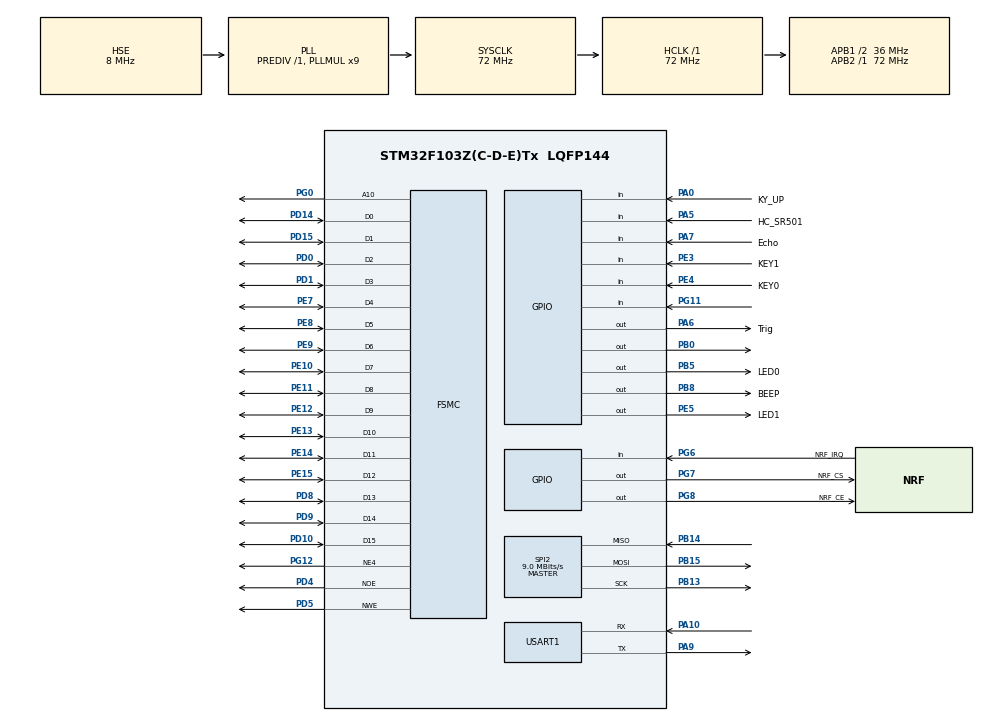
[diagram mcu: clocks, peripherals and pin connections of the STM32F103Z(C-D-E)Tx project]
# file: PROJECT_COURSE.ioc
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Mcu.Family=STM32F1
FSMC.AddressSetupTime1=1
SH.FSMC_D1_DA1.0=FSMC_D1,16b-d1
PG6.Signal=GPIO_Input
SPI2.VirtualType=VM_MASTER
PG8.Signal=GPIO_Output
PG6.GPIO_Label=NRF_IRQ
SH.FSMC_NWE.0=FSMC_NWE,Lcd1
PG0.Signal=FSMC_A10
SH.FSMC_D0_DA0.0=FSMC_D0,16b-d1
PA6.GPIO_Label=Trig
PB13.Signal=SPI2_SCK
PB15.Signal=SPI2_MOSI
PG11.Signal=GPIO_Input
RCC.SYSCLKSource=RCC_SYSCLKSOURCE_PLLCLK
ProjectManager.StackSize=0x400
VP_TIM7_VS_ClockSourceINT.Mode=Enable_Timer
PE5.GPIO_PuPd=GPIO_PULLUP
PG11.GPIO_PuPd=GPIO_PULLDOWN
RCC.HCLKFreq_Value=72000000
PD4.Signal=FSMC_NOE
RCC.APB2TimFreq_Value=72000000
PB5.PinState=GPIO_PIN_SET
PD0.Signal=FSMC_D2_DA2
PD8.Signal=FSMC_D13_DA13
PE5.Signal=GPIO_Output
OSC_OUT.Mode=HSE-External-Oscillator
SH.FSMC_A10.0=FSMC_A10,A10_1
OSC_OUT.Signal=RCC_OSC_OUT
RCC.AHBFreq_Value=72000000
SPI2.BaudRatePrescaler=SPI_BAUDRATEPRESCALER_4
RCC.PLLMUL=RCC_PLL_MUL9
PA6.GPIO_PuPd=GPIO_PULLDOWN
PG6.GPIO_PuPd=GPIO_PULLDOWN
PE13.Signal=FSMC_D10_DA10
SH.FSMC_D14_DA14.0=FSMC_D14,16b-d1
SH.FSMC_D10_DA10.0=FSMC_D10,16b-d1
PE9.Signal=FSMC_D6_DA6
PA14.Mode=Serial_Wire
PB14.Mode=Full_Duplex_Master
PA5.GPIO_PuPd=GPIO_PULLDOWN
SH.FSMC_D6_DA6.0=FSMC_D6,16b-d1
PE4.GPIO_Label=KEY0
PE5.PinState=GPIO_PIN_SET
SPI2.CalculateBaudRate=9.0 MBits/s
PG7.GPIO_PuPd=GPIO_PULLDOWN
PE10.Signal=FSMC_D7_DA7
PE4.Signal=GPIO_Input
SH.FSMC_D5_DA5.0=FSMC_D5,16b-d1
SH.FSMC_D4_DA4.0=FSMC_D4,16b-d1
Mcu.Package=LQFP144
TIM2.Prescaler=72-1
PA6.Signal=GPIO_Output
SPI2.Mode=SPI_MODE_MASTER
SH.FSMC_D13_DA13.0=FSMC_D13,16b-d1
PA10.Signal=USART1_RX
PB5.GPIO_Speed=GPIO_SPEED_FREQ_HIGH
PG8.GPIO_Speed=GPIO_SPEED_FREQ_HIGH
PB5.GPIO_Label=LED0
SH.FSMC_D3_DA3.0=FSMC_D3,16b-d1
RCC.APB1TimFreq_Value=72000000
SH.FSMC_D2_DA2.0=FSMC_D2,16b-d1
SPI2.Direction=SPI_DIRECTION_2LINES
PB13.Mode=Full_Duplex_Master
PA6.GPIO_Speed=GPIO_SPEED_FREQ_HIGH
PE7.Signal=FSMC_D4_DA4
PD15.Signal=FSMC_D1_DA1
PG12.Signal=FSMC_NE4
RCC.PLLSourceVirtual=RCC_PLLSOURCE_HSE
FSMC.ExtendedAddressSetupTime1=0
SH.FSMC_D12_DA12.0=FSMC_D12,16b-d1
PG7.Signal=GPIO_Output
PA10.Mode=Asynchronous
FSMC.ExtendedMode1=FSMC_EXTENDED_MODE_ENABLE
PB8.GPIO_PuPd=GPIO_PULLDOWN
PD1.Signal=FSMC_D3_DA3
SH.FSMC_D9_DA9.0=FSMC_D9,16b-d1
PA6.PinState=GPIO_PIN_RESET
PD9.Signal=FSMC_D14_DA14
PD5.Signal=FSMC_NWE
RCC.APB1CLKDivider=RCC_HCLK_DIV2
PA0-WKUP.GPIO_Label=KY_UP
PA0-WKUP.Signal=GPIO_Input
SH.FSMC_D8_DA8.0=FSMC_D8,16b-d1
PG8.GPIO_PuPd=GPIO_PULLDOWN
PB0.GPIO_Speed=GPIO_SPEED_FREQ_HIGH
PD10.Signal=FSMC_D15_DA15
PG8.GPIO_Label=NRF_CE
PA13.Signal=SYS_JTMS-SWDIO
PB8.GPIO_Label=BEEP
PA9.Mode=Asynchronous
ProjectManager.TargetToolchain=STM32CubeIDE
FSMC.DataSetupTime1=4
PA9.Signal=USART1_TX
OSC_IN.Signal=RCC_OSC_IN
RCC.USBFreq_Value=72000000
PE11.Signal=FSMC_D8_DA8
PA7.GPIO_PuPd=GPIO_PULLDOWN
PB14.Signal=SPI2_MISO
PA5.Signal=GPIO_Input
SH.FSMC_D7_DA7.0=FSMC_D7,16b-d1
FSMC.ExtendedDataSetupTime1=3
board=custom
PG12.Mode=NorPsramChipSelect4_1
PB15.Mode=Full_Duplex_Master
PG7.GPIO_Speed=GPIO_SPEED_FREQ_HIGH
RCC.APB2Freq_Value=72000000
PE14.Signal=FSMC_D11_DA11
PE15.Signal=FSMC_D12_DA12
VP_TIM2_VS_ClockSourceINT.Mode=Internal
PE8.Signal=FSMC_D5_DA5
PG7.GPIO_Label=NRF_CS
PE3.GPIO_PuPd=GPIO_PULLUP
PA13.Mode=Serial_Wire
Mcu.Name=STM32F103Z(C-D-E)Tx
PE12.Signal=FSMC_D9_DA9
PE4.GPIO_PuPd=GPIO_PULLUP
PD14.Signal=FSMC_D0_DA0
RCC.SYSCLKFreq_VALUE=72000000
PB5.Signal=GPIO_Output
PA7.GPIO_Label=Echo
PA5.GPIO_Label=HC_SR501
OSC_IN.Mode=HSE-External-Oscillator
PB5.GPIO_PuPd=GPIO_PULLUP
PE5.GPIO_Label=LED1
USART1.VirtualMode=VM_ASYNC
SH.FSMC_D15_DA15.0=FSMC_D15,16b-d1
PA14.Signal=SYS_JTCK-SWCLK
ProjectManager.HeapSize=0x200
SH.FSMC_D11_DA11.0=FSMC_D11,16b-d1
SH.FSMC_NOE.0=FSMC_NOE,Lcd1
NVIC.PriorityGroup=NVIC_PRIORITYGROUP_4
PE5.GPIO_Speed=GPIO_SPEED_FREQ_HIGH
PE3.Signal=GPIO_Input
PB8.Signal=GPIO_Output
PE3.GPIO_Label=KEY1
PA0-WKUP.GPIO_PuPd=GPIO_PULLDOWN
RCC.APB1Freq_Value=36000000
PB8.GPIO_Speed=GPIO_SPEED_FREQ_HIGH
PB0.Signal=GPIO_Output
PB0.GPIO_PuPd=GPIO_PULLUP
PA7.Signal=GPIO_Input

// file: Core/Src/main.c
/* USER CODE BEGIN Header */
/**
 ******************************************************************************
 * @file           : main.c
 * @brief          : Main program body
 ******************************************************************************
 * @attention
 *
 * <h2><center>&copy; Copyright (c) 2021 STMicroelectronics.
 * All rights reserved.</center></h2>
 *
 * This software component is licensed by ST under BSD 3-Clause license,
 * the "License"; You may not use this file except in compliance with the
 * License. You may obtain a copy of the License at:
 *                        opensource.org/licenses/BSD-3-Clause
 *
 ******************************************************************************
 */
/* USER CODE END Header */
#include "main.h"
#include "spi.h"
#include "tim.h"
#include "usart.h"
#include "gpio.h"
#include "fsmc.h"

/* USER CODE BEGIN Includes */
#include "stdlib.h"
#include "lcd.h"
#include "hc_sr04.h"
#include "ds18b20.h"
#include "nrf24l01.h"
#include "key.h"
#include "beep.h"
/* USER CODE END Includes */

void SystemClock_Config(void);

/* USER CODE BEGIN 0 */
hc_sr04_device_t hc_sr04;
uint8_t manCome, LastCome = 2;
float temperature;
uint8_t Rx_Buf[32];
uint8_t Tx_Buf[32];
uint8_t mode, key;
uint32_t i = 0, time = 0;

void LCD_Show() {
	uint8_t ShowBuffer[64]; //LCD输出缓冲区

	//LCD输出一个logo
	POINT_COLOR = BLACK; //将画笔颜色设置为黑色
	LCD_ShowString(25, 30, 240, 16, 16, (uint8_t*) ".------..------..------.");
	LCD_ShowString(25, 45, 240, 16, 16, (uint8_t*) "|W.--. ||X.--. ||Y.--. |");
	LCD_ShowString(25, 60, 240, 16, 16, (uint8_t*) "| :/\\: || :/\\: || (\\/) |");
	LCD_ShowString(25, 75, 240, 16, 16, (uint8_t*) "| :\\/: || (__) || :\\/: |");
	LCD_ShowString(25, 90, 240, 16, 16, (uint8_t*) "| '--'W|| '--'X|| '--'Y|");
	LCD_ShowString(25, 105, 240, 16, 16,(uint8_t*) "`------'`------'`------'");

	//LCD输出测距结果
	POINT_COLOR = BLACK; //将画笔颜色设置为黑色
	sprintf((char*) ShowBuffer, "DIST:%7.2f", hc_sr04.distance);
	LCD_ShowString(30, 140, 240, 24, 24, ShowBuffer);

	//LCD输出测温结果
	sprintf((char*) ShowBuffer, "TEMP:%7.2f", temperature);
	LCD_ShowString(30, 170, 240, 24, 24, ShowBuffer);

	//根据按键选择的工作模式的不同，LCD上显示不同的提示信息
	if (mode == KEY0_PRES) {
		LCD_ShowString(25, 280, 200, 24, 24, (uint8_t*) "NRF24L01 RX_MODE");
	} else if (mode == KEY1_PRES) {
		LCD_ShowString(25, 280, 200, 24, 24, (uint8_t*) "NRF24L01 TX_MODE");
	}

	//LCD输出红外结果
	//为避免不同字符混杂的情况，当LCD显示的字符不同时，先执行一次清屏操作
	if (LastCome != manCome) {
		LCD_Fill(20, 200, 220, 280, WHITE);
	}
	if (manCome == 1) {
		POINT_COLOR = RED;
		LCD_ShowString(30, 210, 240, 24, 24, (uint8_t*) "SOMEBODY");
		LCD_ShowString(30, 240, 240, 24, 24, (uint8_t*) "APPROCHING!!!!");
	} else {
		POINT_COLOR = BLACK;
		LCD_ShowString(40, 220, 240, 24, 24, (uint8_t*) "NOBODY......");
	}
	LastCome = manCome;
}

//选择nRF24L01的工作模式
void nRF24L01_Start(void) {
	//首先判断是否正常连接上了nRF24L01
	//若未正常连接，LCD显示错误提醒
	while (NRF24L01_Check()) {
		POINT_COLOR = RED;
		LCD_ShowString(30, 70, 200, 24, 24, (uint8_t*) "NRF24L01 Error...");
		HAL_Delay(700);
		LCD_Fill(30, 70, 230, 94, WHITE);
		HAL_Delay(700);
	}
	//若正常连接nRF24L01则显示相关提示
	LCD_Fill(30, 70, 230, 94, WHITE);
	POINT_COLOR = BLACK;
	LCD_ShowString(30, 70, 200, 24, 24, (uint8_t*) "NRF24L01 OK");
	HAL_Delay(300);
	LCD_ShowString(30, 70, 200, 24, 24, (uint8_t*) "NRF24L01 OK.");
	HAL_Delay(500);
	LCD_ShowString(30, 70, 200, 24, 24, (uint8_t*) "NRF24L01 OK..");
	HAL_Delay(500);
	LCD_ShowString(30, 70, 200, 24, 24, (uint8_t*) "NRF24L01 OK...");
	HAL_Delay(500);

	//使用按键选择单片机的工作模式
	//Key0----接收模式
	//Key1----发送模式
	while (1) {
		i++;
		mode = KeyScan(0);
		POINT_COLOR = RED;
		if (i == 80000) {
			LCD_ShowString(40, 130, 200, 24, 24, (uint8_t*) "RECEIVE(KEY0)");
			LCD_ShowString(100, 170, 200, 24, 24, (uint8_t*) "OR");
			LCD_ShowString(60, 210, 200, 24, 24, (uint8_t*) "SENT(KEY1)");
		} else if (i == 160000) {
			LCD_Fill(30, 130, 230, 234, WHITE);
			i = 0;
		}

		POINT_COLOR = BLACK;
		switch (mode) {
		case KEY0_PRES:
			NRF24L01_RX_Mode();
			break;
		case KEY1_PRES:
			NRF24L01_TX_Mode();
			break;
		default:
			continue;
		}
		break;
	}
	//结束后全屏清屏，方便后续处理
	LCD_Fill(0, 0, 320, 240, WHITE);
}

/* USER CODE END 0 */

int main(void) {

	/* MCU Configuration--------------------------------------------------------*/

	/* Reset of all peripherals, Initializes the Flash interface and the Systick. */
	HAL_Init();

	/* Configure the system clock */
	SystemClock_Config();

	/* Initialize all configured peripherals */
	MX_GPIO_Init();
	MX_FSMC_Init();
	MX_USART1_UART_Init();
	MX_TIM2_Init();
	MX_SPI2_Init();
	MX_TIM7_Init();
	/* USER CODE BEGIN 2 */
	HC_SR04_Init(&hc_sr04); //HC_SR04初始化
	DS18B20_Init(); //DS18B20初始化
	NRF24L01_Init(); //nRF24L01初始化

	LCD_Init(); //LCD初始化
	LCD_Clear(WHITE); //清屏为白色
	POINT_COLOR = BLACK; //将画笔颜色设置为黑色

	nRF24L01_Start(); //nRF24L01
	/* USER CODE END 2 */

	/* Infinite loop */
	/* USER CODE BEGIN WHILE */
	//判断当前应该进入发送模式还是接收模式
	if (mode == KEY1_PRES) {
		while (1) {
			/*
			 * 发送模式中发送的字符串由两部分组成
			 * 第一个字符用于接收机判断当前接收的数据是哪个类型的数据：
			 * 		D-----距离
			 * 		T-----温度
			 * 		I-----红外
			 * 从第二个字符开始即为实际发送数据
			 */

			//使用HC_SR04测距
			HC_SR04_Measure(&hc_sr04);
			LCD_Show();
			sprintf((char*) Tx_Buf, "D%.2f", hc_sr04.distance);
			while (NRF24L01_TxPacket(Tx_Buf) != TX_OK)
				;

			//使用18b20测温
			temperature = DS18B20_Get_Temperature();
			LCD_Show();
			sprintf((char*) Tx_Buf, "T%.2f", temperature);
			while (NRF24L01_TxPacket(Tx_Buf) != TX_OK)
				;

			//当红外传感器检测到人时，让LED0亮
			manCome = HC_SR501;
			HAL_GPIO_WritePin(LED0_GPIO_Port, LED0_Pin, !HC_SR501);
			LCD_Show();
			sprintf((char*) Tx_Buf, "I%d", manCome);
			while (NRF24L01_TxPacket(Tx_Buf) != TX_OK)
				;

			HAL_Delay(500);
		}
	} else if (mode == KEY0_PRES) {
		while (1) {
			/*
			 * 接收模式中，根据发送的格式对接收到的数据进行处理
			 * 首先提取第一个字符，用于判断当前数据是哪个类型的数据
			 * 然后从数据的第二位开始，即为传感器的检测数据
			 */
			if (NRF24L01_RxPacket(Rx_Buf) == 0) {
				//数组的最后加上'\0'，表示字符串结束
				Rx_Buf[31] = 0;
				//提取数据字符串，并将字符串转换成float或double或int
				if (Rx_Buf[0] == 'D') {
					hc_sr04.distance = atof((char*) (&Rx_Buf[1]));
				} else if (Rx_Buf[0] == 'T') {
					temperature = atoff((char*) (&Rx_Buf[1]));
				} else if (Rx_Buf[0] == 'I') {
					manCome = atoi((char*) (&Rx_Buf[1]));
					HAL_GPIO_WritePin(LED0_GPIO_Port, LED0_Pin, !manCome);
					//若检测到有人，则开始计时
					if (manCome == 1) {
						time++;
					}
				}
			}
			LCD_Show();

			//若检测到有人、距离较近且长时间逗留，则报警(蜂鸣器响)
			if (manCome == 1 && time >= 25 && hc_sr04.distance <= 100) {
				BEEP_On();
			}
			//若此时人走了，则关闭蜂鸣器
			if (manCome == 0) {
				BEEP_Off();
				time = 0;
			}
			//按照要求，串口输出相关信息
			if (manCome == 0) {
				printf("附近没人。。。。\r\n");
			} else {
				printf("注意！有人靠近！！！！\r\n");
			}
			printf("当前测距结果为：%.2f cm\r\n", hc_sr04.distance);
			printf("当前温度为：%.2f ℃\r\n", temperature);

		}
	}

	/* USER CODE END WHILE */

}

void SystemClock_Config(void) {
	RCC_OscInitTypeDef RCC_OscInitStruct = { 0 };
	RCC_ClkInitTypeDef RCC_ClkInitStruct = { 0 };

	/** Initializes the RCC Oscillators according to the specified parameters
	 * in the RCC_OscInitTypeDef structure.
	 */
	RCC_OscInitStruct.OscillatorType = RCC_OSCILLATORTYPE_HSE;
	RCC_OscInitStruct.HSEState = RCC_HSE_ON;
	RCC_OscInitStruct.HSEPredivValue = RCC_HSE_PREDIV_DIV1;
	RCC_OscInitStruct.HSIState = RCC_HSI_ON;
	RCC_OscInitStruct.PLL.PLLState = RCC_PLL_ON;
	RCC_OscInitStruct.PLL.PLLSource = RCC_PLLSOURCE_HSE;
	RCC_OscInitStruct.PLL.PLLMUL = RCC_PLL_MUL9;
	if (HAL_RCC_OscConfig(&RCC_OscInitStruct) != HAL_OK) {
		Error_Handler();
	}
	/** Initializes the CPU, AHB and APB buses clocks
	 */
	RCC_ClkInitStruct.ClockType = RCC_CLOCKTYPE_HCLK | RCC_CLOCKTYPE_SYSCLK
			| RCC_CLOCKTYPE_PCLK1 | RCC_CLOCKTYPE_PCLK2;
	RCC_ClkInitStruct.SYSCLKSource = RCC_SYSCLKSOURCE_PLLCLK;
	RCC_ClkInitStruct.AHBCLKDivider = RCC_SYSCLK_DIV1;
	RCC_ClkInitStruct.APB1CLKDivider = RCC_HCLK_DIV2;
	RCC_ClkInitStruct.APB2CLKDivider = RCC_HCLK_DIV1;

	if (HAL_RCC_ClockConfig(&RCC_ClkInitStruct, FLASH_LATENCY_2) != HAL_OK) {
		Error_Handler();
	}
}

/* USER CODE BEGIN 4 */
// 须在头文件中添加 #include <stdio.h>
//////////////////////////////////////////////////////////////////
// 加入以下代码,支持printf函数,而不需要选择use MicroLIB
// MDK中同样定义了 __GNUC__，使用__ARMCC_VERSION 或  __CC_ARM 区分MDK和STM32CubeIDE
// MDK预定义宏，详见 ：https://www.keil.com/support/man/docs/armcc/armcc_chr1359125007083.htm
#ifdef __CC_ARM // 或 #ifdef __ARMCC_VERSION
  #define PUTCHAR_PROTOTYPE int fputc(int ch, FILE *f)
#else
#define PUTCHAR_PROTOTYPE int __io_putchar(int ch)
#endif
#if 1

FILE __stdout;
//定义_sys_exit()以避免使用半主机模式
void _sys_exit(int x) {
	x = x;
}
//重定义fputc函数
PUTCHAR_PROTOTYPE {
	// 具体哪个串口可以更改huart2为其它串口
	// HAL_UART_Transmit(&huart2, (uint8_t *)&ch, 1 , 0xffff);
	while ((USART1->SR & 0X40) == 0) {
	}; //循环发送,直到发送完毕
	USART1->DR = (uint8_t) ch;

//  while ((USART2->SR & 0X40) == 0) {
//  }; //循环发送,直到发送完毕
//  USART2->DR = (uint8_t) ch;

	return ch;
}
#endif

/* USER CODE END 4 */

void Error_Handler(void) {
	__disable_irq();
	while (1) {
	}
}

/************************ (C) COPYRIGHT STMicroelectronics *****END OF FILE****/
